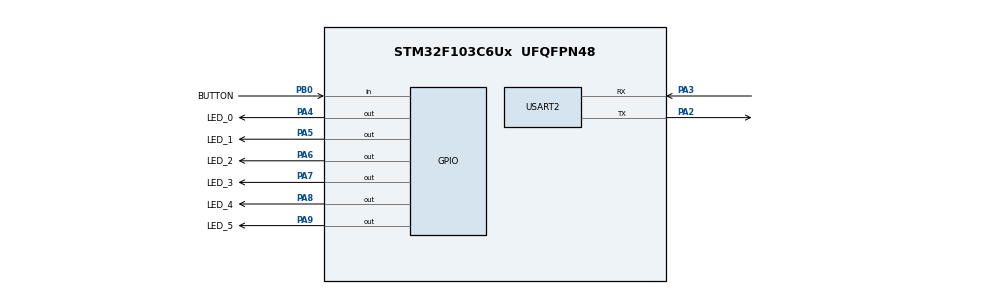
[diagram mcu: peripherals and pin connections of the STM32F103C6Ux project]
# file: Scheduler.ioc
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Mcu.Family=STM32F1
Mcu.Name=STM32F103C6Ux
Mcu.Package=UFQFPN48
NVIC.PriorityGroup=NVIC_PRIORITYGROUP_4
NVIC.TIM2_IRQn=true\:0\:0\:false\:false\:true\:true\:true
NVIC.USART2_IRQn=true\:0\:0\:false\:false\:true\:true\:true
PA2.Mode=Asynchronous
PA2.Signal=USART2_TX
PA3.Mode=Asynchronous
PA3.Signal=USART2_RX
PA4.GPIO_Label=LED_0
PA4.Signal=GPIO_Output
PA5.GPIO_Label=LED_1
PA5.Signal=GPIO_Output
PA6.GPIO_Label=LED_2
PA6.Signal=GPIO_Output
PA7.GPIO_Label=LED_3
PA7.Signal=GPIO_Output
PA8.GPIO_Label=LED_4
PA8.Signal=GPIO_Output
PA9.GPIO_Label=LED_5
PA9.Signal=GPIO_Output
PB0.GPIO_Label=BUTTON
PB0.GPIO_PuPd=GPIO_PULLUP
PB0.Signal=GPIO_Input
ProjectManager.HeapSize=0x200
ProjectManager.StackSize=0x400
ProjectManager.TargetToolchain=STM32CubeIDE
RCC.APB1Freq_Value=8000000
RCC.APB2Freq_Value=8000000
TIM2.Period=9
TIM2.Prescaler=7999
USART2.VirtualMode=VM_ASYNC
VP_SYS_VS_ND.Mode=No_Debug
VP_TIM2_VS_ClockSourceINT.Mode=Internal
board=custom

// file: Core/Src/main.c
/* USER CODE BEGIN Header */
/**
  ******************************************************************************
  * @file           : main.c
  * @brief          : Main program body
  ******************************************************************************
  * @attention
  *
  * <h2><center>&copy; Copyright (c) 2023 STMicroelectronics.
  * All rights reserved.</center></h2>
  *
  * This software component is licensed by ST under BSD 3-Clause license,
  * the "License"; You may not use this file except in compliance with the
  * License. You may obtain a copy of the License at:
  *                        opensource.org/licenses/BSD-3-Clause
  *
  ******************************************************************************
  */
/* USER CODE END Header */
#include "main.h"

/* USER CODE BEGIN Includes */
#include "scheduler.h"
#include "task.h"
#include "button.h"
#include "global.h"

/* USER CODE END Includes */

TIM_HandleTypeDef htim2;

UART_HandleTypeDef huart2;

void SystemClock_Config(void);
static void MX_GPIO_Init(void);
static void MX_USART2_UART_Init(void);
static void MX_TIM2_Init(void);

int main(void)
{

  /* MCU Configuration--------------------------------------------------------*/

  /* Reset of all peripherals, Initializes the Flash interface and the Systick. */
  HAL_Init();

  /* Configure the system clock */
  SystemClock_Config();

  /* Initialize all configured peripherals */
  MX_GPIO_Init();
  MX_USART2_UART_Init();
  MX_TIM2_Init();
  /* USER CODE BEGIN 2 */
  HAL_TIM_Base_Start_IT(&htim2);
    SCH_Init();

    unsigned char task_index = 0;
  /* USER CODE END 2 */

  /* Infinite loop */
  /* USER CODE BEGIN WHILE */
    task_index = SCH_Add_Task(LED_0_Display, 3000, 0);
         HAL_UART_Transmit(&huart2, (uint8_t *)data, sprintf(data, "Task %d is added\r\n", task_index), 1000);
         task_index = SCH_Add_Task(LED_1_Display, 1000, 7000);
         HAL_UART_Transmit(&huart2, (uint8_t *)data, sprintf(data, "Task %d is added\r\n", task_index), 1000);
         task_index = SCH_Add_Task(LED_2_Display, 3000, 5000);
         HAL_UART_Transmit(&huart2, (uint8_t *)data, sprintf(data, "Task %d is added\r\n", task_index), 1000);
         task_index = SCH_Add_Task(LED_3_Display, 2000, 4000);
         HAL_UART_Transmit(&huart2, (uint8_t *)data, sprintf(data, "Task %d is added\r\n", task_index), 1000);
         task_index = SCH_Add_Task(LED_4_Display, 0, 2000);
         HAL_UART_Transmit(&huart2, (uint8_t *)data, sprintf(data, "Task %d is added\r\n", task_index), 1000);

         setTimer0(1000);
  while (1)
  {
	  SCH_Dispatch_Tasks();
	 		  fsm_button();

	 		  if (timer0_flag == 1) {
	 			  HAL_GPIO_TogglePin(LED_5_GPIO_Port, LED_5_Pin);
	 			  setTimer0(1000);
	 		  }
    /* USER CODE END WHILE */

  }
}

void SystemClock_Config(void)
{
  RCC_OscInitTypeDef RCC_OscInitStruct = {0};
  RCC_ClkInitTypeDef RCC_ClkInitStruct = {0};

  /** Initializes the RCC Oscillators according to the specified parameters
  * in the RCC_OscInitTypeDef structure.
  */
  RCC_OscInitStruct.OscillatorType = RCC_OSCILLATORTYPE_HSI;
  RCC_OscInitStruct.HSIState = RCC_HSI_ON;
  RCC_OscInitStruct.HSICalibrationValue = RCC_HSICALIBRATION_DEFAULT;
  RCC_OscInitStruct.PLL.PLLState = RCC_PLL_NONE;
  if (HAL_RCC_OscConfig(&RCC_OscInitStruct) != HAL_OK)
  {
    Error_Handler();
  }
  /** Initializes the CPU, AHB and APB buses clocks
  */
  RCC_ClkInitStruct.ClockType = RCC_CLOCKTYPE_HCLK|RCC_CLOCKTYPE_SYSCLK
                              |RCC_CLOCKTYPE_PCLK1|RCC_CLOCKTYPE_PCLK2;
  RCC_ClkInitStruct.SYSCLKSource = RCC_SYSCLKSOURCE_HSI;
  RCC_ClkInitStruct.AHBCLKDivider = RCC_SYSCLK_DIV1;
  RCC_ClkInitStruct.APB1CLKDivider = RCC_HCLK_DIV1;
  RCC_ClkInitStruct.APB2CLKDivider = RCC_HCLK_DIV1;

  if (HAL_RCC_ClockConfig(&RCC_ClkInitStruct, FLASH_LATENCY_0) != HAL_OK)
  {
    Error_Handler();
  }
}

static void MX_TIM2_Init(void)
{

  TIM_ClockConfigTypeDef sClockSourceConfig = {0};
  TIM_MasterConfigTypeDef sMasterConfig = {0};

  htim2.Instance = TIM2;
  htim2.Init.Prescaler = 7999;
  htim2.Init.CounterMode = TIM_COUNTERMODE_UP;
  htim2.Init.Period = 9;
  htim2.Init.ClockDivision = TIM_CLOCKDIVISION_DIV1;
  htim2.Init.AutoReloadPreload = TIM_AUTORELOAD_PRELOAD_DISABLE;
  if (HAL_TIM_Base_Init(&htim2) != HAL_OK)
  {
    Error_Handler();
  }
  sClockSourceConfig.ClockSource = TIM_CLOCKSOURCE_INTERNAL;
  if (HAL_TIM_ConfigClockSource(&htim2, &sClockSourceConfig) != HAL_OK)
  {
    Error_Handler();
  }
  sMasterConfig.MasterOutputTrigger = TIM_TRGO_RESET;
  sMasterConfig.MasterSlaveMode = TIM_MASTERSLAVEMODE_DISABLE;
  if (HAL_TIMEx_MasterConfigSynchronization(&htim2, &sMasterConfig) != HAL_OK)
  {
    Error_Handler();
  }

}

static void MX_USART2_UART_Init(void)
{

  huart2.Instance = USART2;
  huart2.Init.BaudRate = 115200;
  huart2.Init.WordLength = UART_WORDLENGTH_8B;
  huart2.Init.StopBits = UART_STOPBITS_1;
  huart2.Init.Parity = UART_PARITY_NONE;
  huart2.Init.Mode = UART_MODE_TX_RX;
  huart2.Init.HwFlowCtl = UART_HWCONTROL_NONE;
  huart2.Init.OverSampling = UART_OVERSAMPLING_16;
  if (HAL_UART_Init(&huart2) != HAL_OK)
  {
    Error_Handler();
  }

}

static void MX_GPIO_Init(void)
{
  GPIO_InitTypeDef GPIO_InitStruct = {0};

  /* GPIO Ports Clock Enable */
  __HAL_RCC_GPIOA_CLK_ENABLE();
  __HAL_RCC_GPIOB_CLK_ENABLE();

  /*Configure GPIO pin Output Level */
  HAL_GPIO_WritePin(GPIOA, LED_0_Pin|LED_1_Pin|LED_2_Pin|LED_3_Pin
                          |LED_4_Pin|LED_5_Pin, GPIO_PIN_RESET);

  /*Configure GPIO pins : LED_0_Pin LED_1_Pin LED_2_Pin LED_3_Pin
                           LED_4_Pin LED_5_Pin */
  GPIO_InitStruct.Pin = LED_0_Pin|LED_1_Pin|LED_2_Pin|LED_3_Pin
                          |LED_4_Pin|LED_5_Pin;
  GPIO_InitStruct.Mode = GPIO_MODE_OUTPUT_PP;
  GPIO_InitStruct.Pull = GPIO_NOPULL;
  GPIO_InitStruct.Speed = GPIO_SPEED_FREQ_LOW;
  HAL_GPIO_Init(GPIOA, &GPIO_InitStruct);

  /*Configure GPIO pin : BUTTON_Pin */
  GPIO_InitStruct.Pin = BUTTON_Pin;
  GPIO_InitStruct.Mode = GPIO_MODE_INPUT;
  GPIO_InitStruct.Pull = GPIO_PULLUP;
  HAL_GPIO_Init(BUTTON_GPIO_Port, &GPIO_InitStruct);

}

/* USER CODE BEGIN 4 */
void HAL_TIM_PeriodElapsedCallback(TIM_HandleTypeDef *htim) {
	SCH_Update();
	button_reading();
	time_stamp++;
	timer_run();
}
/* USER CODE END 4 */

void Error_Handler(void)
{
  __disable_irq();
  while (1)
  {
  }
}

/************************ (C) COPYRIGHT STMicroelectronics *****END OF FILE****/
